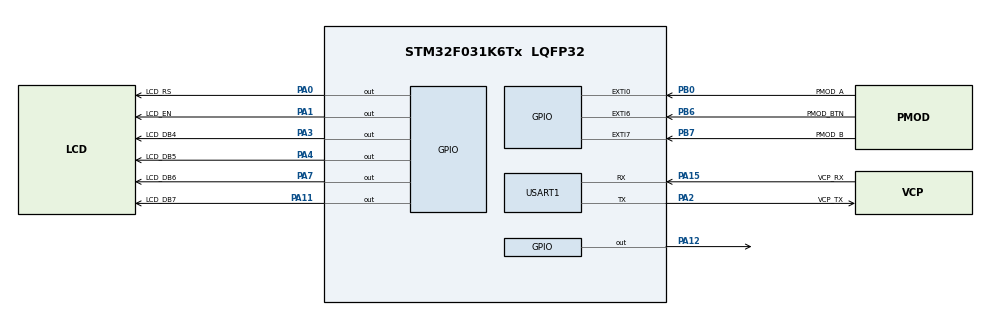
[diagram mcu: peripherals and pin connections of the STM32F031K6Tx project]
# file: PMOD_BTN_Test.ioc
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Mcu.Family=STM32F0
TIM14.AutoReloadPreload=TIM_AUTORELOAD_PRELOAD_ENABLE
PA14.GPIO_Label=SWCLK
PA0.GPIO_Label=LCD_RS
PA11.GPIO_Label=LCD_DB7
PB0.GPIO_Label=PMOD_A
PB6.GPIO_Label=PMOD_BTN
VP_TIM16_VS_ClockSourceINT.Mode=Enable_Timer
ProjectManager.StackSize=0x400
USART1.VirtualMode-Asynchronous=VM_ASYNC
PA13.Signal=SYS_SWDIO
PA15.GPIO_Label=VCP_RX
PA12.Signal=GPIO_Output
ProjectManager.TargetToolchain=STM32CubeIDE
PB6.Signal=GPXTI6
PA1.Signal=GPIO_Output
board=NUCLEO-F031K6
PA15.Mode=Asynchronous
PB0.GPIO_ModeDefaultEXTI=GPIO_MODE_IT_RISING
PA14.Mode=Serial_Wire
PA1.GPIO_Label=LCD_EN
PB7.Signal=GPXTI7
PA13.Mode=Serial_Wire
Mcu.Name=STM32F031K6Tx
TIM14.Prescaler=1000-1
PA2.Signal=USART1_TX
PA13.GPIO_Label=SWDIO
PA0.Signal=GPIO_Output
PB7.GPIO_Label=PMOD_B
PA4.Signal=GPIO_Output
Mcu.Package=LQFP32
PA7.GPIO_Label=LCD_DB6
PA2.GPIO_Label=VCP_TX
PA11.Signal=GPIO_Output
PA14.Signal=SYS_SWCLK
PA15.Signal=USART1_RX
ProjectManager.HeapSize=0x200
RCC.APB1TimFreq_Value=8000000
PA2.Mode=Asynchronous
VP_TIM14_VS_ClockSourceINT.Mode=Enable_Timer
TIM16.Prescaler=8-1
RCC.APB1Freq_Value=8000000
PB0.Signal=GPXTI0
PA4.GPIO_Label=LCD_DB5
NVIC.EXTI4_15_IRQn=true\:0\:0\:false\:false\:true\:true\:true
PA3.GPIO_Label=LCD_DB4
PA3.Signal=GPIO_Output
PA7.Signal=GPIO_Output
NVIC.EXTI0_1_IRQn=true\:0\:0\:false\:false\:true\:true\:true

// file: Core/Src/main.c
/* USER CODE BEGIN Header */
/**
  ******************************************************************************
  * @file           : main.c
  * @brief          : Main program body
  ******************************************************************************
  * @attention
  *
  * <h2><center>&copy; Copyright (c) 2021 STMicroelectronics.
  * All rights reserved.</center></h2>
  *
  * This software component is licensed by ST under BSD 3-Clause license,
  * the "License"; You may not use this file except in compliance with the
  * License. You may obtain a copy of the License at:
  *                        opensource.org/licenses/BSD-3-Clause
  *
  ******************************************************************************
  */
/* USER CODE END Header */
#include "main.h"
#include "tim.h"
#include "usart.h"
#include "gpio.h"

/* USER CODE BEGIN Includes */

#include <stdio.h>
#include <LiquidCrystal.h>
#include <stdlib.h>

/* USER CODE END Includes */

void SystemClock_Config(void);

int main(void)
{
  /* USER CODE BEGIN 1 */
	char uart_buf[50];
	int uart_buf_len;
	uint16_t timer_val;

  /* USER CODE END 1 */

  /* MCU Configuration--------------------------------------------------------*/

  /* Reset of all peripherals, Initializes the Flash interface and the Systick. */
  HAL_Init();

  /* USER CODE BEGIN Init */

  /*
  * LCD RS pin to PA0
  * LCD R/W pin to PA12
  * LCD En pin to PA1
  * LCD D4 pin to PA3
  * LCD D5 pin to PA4
  * LCD D6 pin to PA7
  * LCD D7 pin to PA11
  */
  // initialize the library by associating any needed LCD interface pin
  	LiquidCrystal(GPIOA, GPIO_PIN_0, GPIO_PIN_12, GPIO_PIN_1, GPIO_PIN_3, GPIO_PIN_4, GPIO_PIN_7, GPIO_PIN_11);
  	print("Hello, World!");
  	int i = 0;
	char* str;
	unsigned char testvar;
	char testbuf[32];
	char teststr[32];
	unsigned char teststrlen;

	// Timing
	unsigned int timer_start;
	unsigned int timer_cnt = 0;
	char timerbuf[8];

  /* USER CODE END Init */

  /* Configure the system clock */
  SystemClock_Config();

  /* USER CODE BEGIN SysInit */
  timer_start = __HAL_TIM_GET_COUNTER(&htim14); // Get initial timer value

  /* USER CODE END SysInit */

  /* Initialize all configured peripherals */
  MX_GPIO_Init();
  MX_USART1_UART_Init();
  MX_TIM16_Init();
  MX_TIM14_Init();
  /* USER CODE BEGIN 2 */

  //UART
  uart_buf_len = sprintf(uart_buf, "Timer test.\r\n");
  HAL_UART_Transmit(&huart1, (uint8_t *)uart_buf, uart_buf_len, 100);

  //Start Timer
  HAL_TIM_Base_Start(&htim16);

  /* USER CODE END 2 */

  /* Infinite loop */
  /* USER CODE BEGIN WHILE */
  while (1)
  {
	  //Get current time cnt
	  timer_val = __HAL_TIM_GET_COUNTER(&htim14);

	  //Wait
	  HAL_Delay(20);

	  //Get Time Elapsed
	  timer_val = __HAL_TIM_GET_COUNTER(&htim14) - timer_val;

	  //Send UART
	  //uart_buf_len = sprintf(uart_buf, "Elapsed Time: %u us\r\n", timer_val);
	  uart_buf_len = sprintf(uart_buf, "COUNT: %d\r\n", rotary_val);
	  HAL_UART_Transmit(&huart1, (uint8_t *)uart_buf, uart_buf_len, 100);

	  // set the cursor to column 0, line 1
	  // (note: line 1 is the second row, since counting begins with 0):
	  setCursor(0, 1);
	  // print the number of seconds since reset:
	  //sprintf(str, "%d", 10);
	  //print(str);

	  /////
	  // Print rotary value
	  // Note: this has issues with the length printing undesired old string array elements.
	  /////

	  /*

	  teststrlen = sprintf(testbuf, "Value is: %d", rotary_val);

	  for(i=0; i<teststrlen; i++)
	  {
		  teststr[i] = testbuf[i];
	  }
	  teststr[teststrlen] = '\0';

	  //print("Value: ");
	  //itoa(rotary_val,testbuf,10);
	  print(teststr);

	  */

	  // Create 1 second timer with 1KHz timer peripheral
	  if(__HAL_TIM_GET_COUNTER(&htim14) - timer_start >= 1000)
	  {
		  print("Seconds: ");
		  sprintf(timerbuf, "%d", 10);
		  print(timerbuf);
		  timer_start = __HAL_TIM_GET_COUNTER(&htim14);
	  }

	  HAL_Delay(100);
	  testvar++;

    /* USER CODE END WHILE */

  }
}

void SystemClock_Config(void)
{
  RCC_OscInitTypeDef RCC_OscInitStruct = {0};
  RCC_ClkInitTypeDef RCC_ClkInitStruct = {0};
  RCC_PeriphCLKInitTypeDef PeriphClkInit = {0};

  /** Initializes the RCC Oscillators according to the specified parameters
  * in the RCC_OscInitTypeDef structure.
  */
  RCC_OscInitStruct.OscillatorType = RCC_OSCILLATORTYPE_HSI;
  RCC_OscInitStruct.HSIState = RCC_HSI_ON;
  RCC_OscInitStruct.HSICalibrationValue = RCC_HSICALIBRATION_DEFAULT;
  RCC_OscInitStruct.PLL.PLLState = RCC_PLL_NONE;
  if (HAL_RCC_OscConfig(&RCC_OscInitStruct) != HAL_OK)
  {
    Error_Handler();
  }
  /** Initializes the CPU, AHB and APB buses clocks
  */
  RCC_ClkInitStruct.ClockType = RCC_CLOCKTYPE_HCLK|RCC_CLOCKTYPE_SYSCLK
                              |RCC_CLOCKTYPE_PCLK1;
  RCC_ClkInitStruct.SYSCLKSource = RCC_SYSCLKSOURCE_HSI;
  RCC_ClkInitStruct.AHBCLKDivider = RCC_SYSCLK_DIV1;
  RCC_ClkInitStruct.APB1CLKDivider = RCC_HCLK_DIV1;

  if (HAL_RCC_ClockConfig(&RCC_ClkInitStruct, FLASH_LATENCY_0) != HAL_OK)
  {
    Error_Handler();
  }
  PeriphClkInit.PeriphClockSelection = RCC_PERIPHCLK_USART1;
  PeriphClkInit.Usart1ClockSelection = RCC_USART1CLKSOURCE_PCLK1;
  if (HAL_RCCEx_PeriphCLKConfig(&PeriphClkInit) != HAL_OK)
  {
    Error_Handler();
  }
}

void Error_Handler(void)
{
  /* USER CODE BEGIN Error_Handler_Debug */
  /* User can add his own implementation to report the HAL error return state */
  __disable_irq();
  while (1)
  {
	  __NOP();
  }
  /* USER CODE END Error_Handler_Debug */
}

/************************ (C) COPYRIGHT STMicroelectronics *****END OF FILE****/
